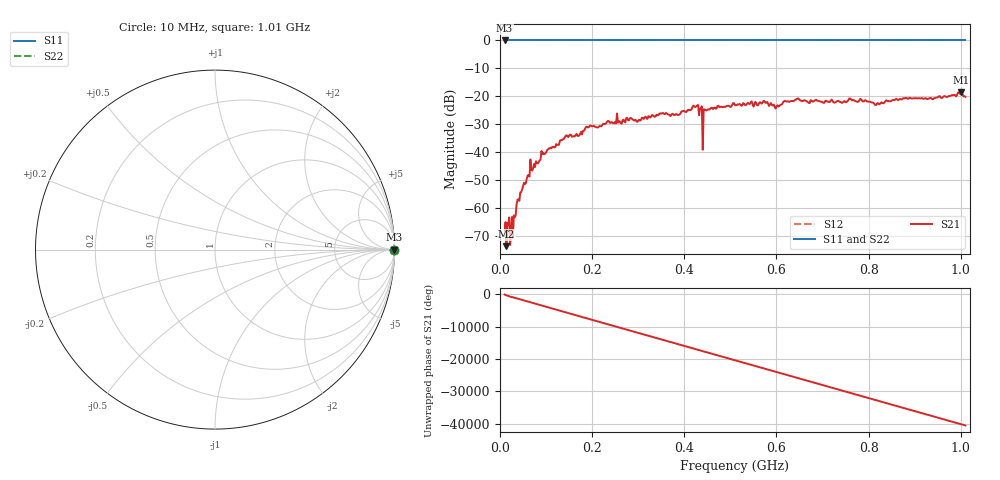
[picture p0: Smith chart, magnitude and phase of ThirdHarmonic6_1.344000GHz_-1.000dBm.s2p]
! 8/16/2025 3:05:57 PM
! C:\ANRITSUVNA\TEMP\TEMP.S2P
! CHANNEL.1
! TR.MEASUREMENT
! RAW.DATA
! RF.CORRECTION.OFF
! AVERAGING.OFF
! IF.BANDWIDTH: 5KHZ
! SWEEPTYPE:  FREQ.SWEEP(Linear)
! Reference Plane Port Info
! PORT:  PORT1  PORT2
! DISTANCE:  0  m  0  m
! TIME:  0  s  0  s
! PHASE.OFFSET:  0  deg.  0  deg.
! LOSS:  0  dB  0  dB
! REF.LOSS:  0  dB  0  dB
! REF.FREQ:  0  Hz  0  Hz
! Power Info
! POWER:  -20  dBm  -20  dBm
! EFF.POWER:  -20  dBm  -20  dBm
! SOURCE.ATTEN:  0  dB  0  dB
! TEST.ATTEN:  0  dB  0  dB
# GHZ S RI R 50.0
! FREQ.GHZ  S11RE  S11IM  S21RE  S21IM  S12RE  S12IM  S22RE  S22IM
!; PortSelection: Port_12
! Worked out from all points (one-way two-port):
!   501 points, 10 MHz to 1.01 GHz, reference 50 ohm
!   highest |S21| = -18.57 dB at 1 GHz (marker M1); lowest = -73.8 dB at 14 MHz (marker M2)
!   lowest |S11| = 0.0 dB at 10 MHz (marker M3)
!   |S11| at or under -10 dB: nowhere
!   |S22| runs from 0.0 to 0.0 dB; largest |S21 - S12| = 1.1
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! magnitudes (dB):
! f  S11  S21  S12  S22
! 10 MHz  0.0  -70.2  0.0  0.0
! 14 MHz  0.0  -73.8  0.0  0.0
! 26 MHz  0.0  -63.3  0.0  0.0
! 40 MHz  0.0  -57.0  0.0  0.0
! 70 MHz  0.0  -46.7  0.0  0.0
! 142 MHz  0.0  -34.3  0.0  0.0
! 178 MHz  0.0  -33.7  0.0  0.0
! 234 MHz  0.0  -28.9  0.0  0.0
! 344 MHz  0.0  -26.8  0.0  0.0
! 388 MHz  0.0  -26.7  0.0  0.0
! 426 MHz  0.0  -23.6  0.0  0.0
! 434 MHz  0.0  -24.5  0.0  0.0
! 436 MHz  0.0  -24.4  0.0  0.0
! 444 MHz  0.0  -24.7  0.0  0.0
! 446 MHz  0.0  -24.9  0.0  0.0
! 510 MHz  0.0  -23.2  0.0  0.0
! 600 MHz  0.0  -23.6  0.0  0.0
! 644 MHz  0.0  -21.0  0.0  0.0
! 678 MHz  0.0  -21.9  0.0  0.0
! 844 MHz  0.0  -21.7  0.0  0.0
! 1 GHz  0.0  -18.6  0.0  0.0
! 1.01 GHz  0.0  -20.2  0.0  0.0
